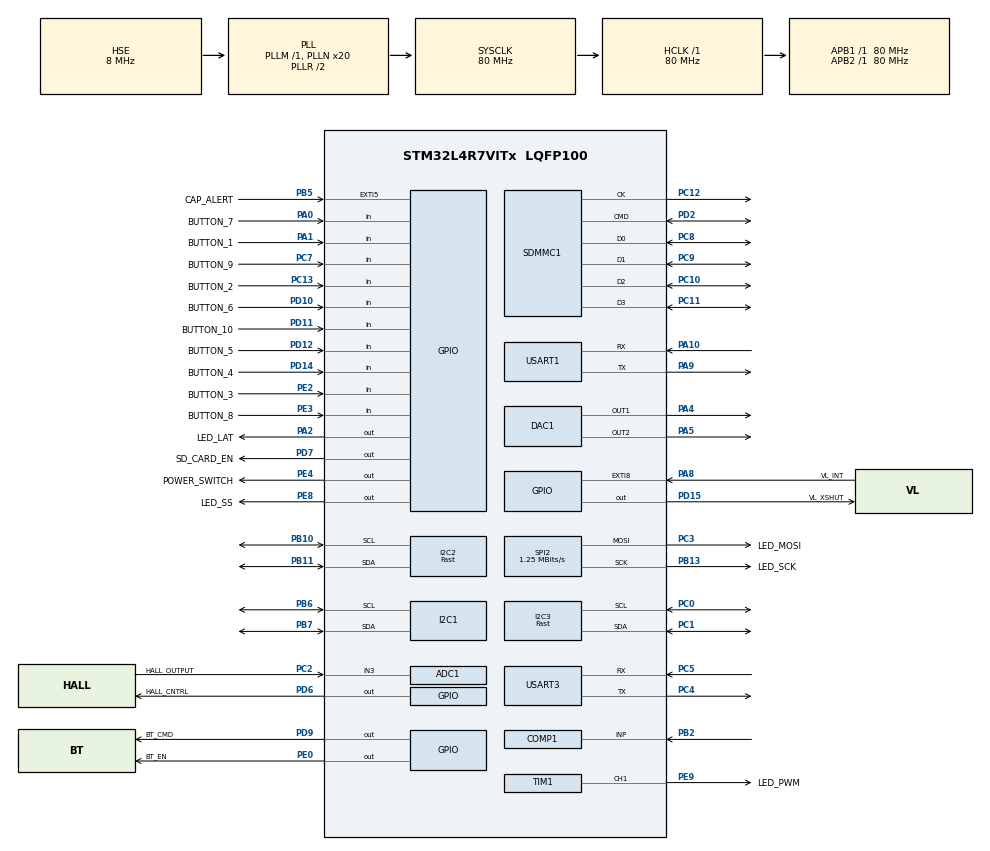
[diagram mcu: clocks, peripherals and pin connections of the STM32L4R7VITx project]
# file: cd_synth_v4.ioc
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ADC1.Channel-8\#ChannelRegularConversion=ADC_CHANNEL_3
ADC1.NbrOfConversionFlag=1
ADC1.OffsetNumber-8\#ChannelRegularConversion=ADC_OFFSET_NONE
ADC1.Rank-8\#ChannelRegularConversion=1
ADC1.SamplingTime-8\#ChannelRegularConversion=ADC_SAMPLETIME_2CYCLES_5
ADC1.master=1
COMP1.Hysteresis=COMP_HYSTERESIS_HIGH
COMP1.Mode=COMP_POWERMODE_ULTRALOWPOWER
COMP1.OutputPol=COMP_OUTPUTPOL_NONINVERTED
COMP1.TriggerMode=COMP_TRIGGERMODE_IT_FALLING
DAC1.DAC_Channel-DAC_OUT2=DAC_CHANNEL_2
DAC1.DAC_HighFrequency-DAC_OUT1=DAC_HIGH_FREQUENCY_INTERFACE_MODE_AUTOMATIC
DAC1.DAC_HighFrequency-DAC_OUT2=DAC_HIGH_FREQUENCY_INTERFACE_MODE_AUTOMATIC
DAC1.DAC_OutputBuffer-DAC_OUT1=DAC_OUTPUTBUFFER_ENABLE
DAC1.DAC_OutputBuffer-DAC_OUT2=DAC_OUTPUTBUFFER_ENABLE
DAC1.DAC_Trigger-DAC_OUT1=DAC_TRIGGER_T6_TRGO
DAC1.DAC_Trigger-DAC_OUT2=DAC_TRIGGER_T6_TRGO
DAC1.WaveGeneration-DAC_OUT1=DISABLE
Dma.DAC1_CH1.0.Direction=DMA_MEMORY_TO_PERIPH
Dma.DAC1_CH1.0.EventEnable=DISABLE
Dma.DAC1_CH1.0.Instance=DMA1_Channel1
Dma.DAC1_CH1.0.MemDataAlignment=DMA_MDATAALIGN_HALFWORD
Dma.DAC1_CH1.0.MemInc=DMA_MINC_ENABLE
Dma.DAC1_CH1.0.Mode=DMA_NORMAL
Dma.DAC1_CH1.0.PeriphDataAlignment=DMA_PDATAALIGN_HALFWORD
Dma.DAC1_CH1.0.PeriphInc=DMA_PINC_DISABLE
Dma.DAC1_CH1.0.Polarity=HAL_DMAMUX_REQUEST_GEN_RISING
Dma.DAC1_CH1.0.Priority=DMA_PRIORITY_HIGH
Dma.DAC1_CH1.0.RequestNumber=1
Dma.DAC1_CH1.0.SignalID=HAL_DMAMUX1_REQUEST_GEN_EXTI0
Dma.DAC1_CH1.0.SyncEnable=DISABLE
Dma.DAC1_CH1.0.SyncPolarity=HAL_DMAMUX_SYNC_NO_EVENT
Dma.DAC1_CH1.0.SyncRequestNumber=1
Dma.DAC1_CH1.0.SyncSignalID=HAL_DMAMUX1_SYNC_EXTI0
Dma.Request0=DAC1_CH1
FREERTOS.Tasks01=defaultTask,0,128,StartDefaultTask,Default,NULL,Dynamic,NULL,NULL
FREERTOS.configLIBRARY_MAX_SYSCALL_INTERRUPT_PRIORITY=5
FREERTOS.configMAX_TASK_NAME_LEN=25
FREERTOS.configTOTAL_HEAP_SIZE=20000
FREERTOS.configUSE_COUNTING_SEMAPHORES=1
FREERTOS.configUSE_TIMERS=1
I2C2.I2C_Speed_Mode=I2C_Fast
I2C2.Timing=0x00702991
I2C3.I2C_Speed_Mode=I2C_Fast
I2C3.Timing=0x00702991
Mcu.Family=STM32L4
Mcu.Name=STM32L4R7VITx
Mcu.Package=LQFP100
NVIC.COMP_IRQn=true\:5\:0\:true\:false\:true\:true\:false
NVIC.DMA1_Channel1_IRQn=true\:7\:0\:true\:false\:true\:true\:false
NVIC.EXTI9_5_IRQn=true\:5\:0\:false\:false\:true\:true\:true
NVIC.I2C1_EV_IRQn=true\:5\:0\:false\:false\:true\:true\:true
NVIC.I2C2_EV_IRQn=true\:5\:0\:false\:false\:true\:true\:true
NVIC.I2C3_EV_IRQn=true\:5\:0\:false\:false\:true\:true\:true
NVIC.PriorityGroup=NVIC_PRIORITYGROUP_4
NVIC.SPI2_IRQn=true\:5\:0\:false\:false\:true\:true\:true
NVIC.TIM2_IRQn=true\:0\:0\:false\:false\:true\:false\:false
NVIC.TIM3_IRQn=true\:5\:0\:false\:false\:true\:true\:true
NVIC.TIM4_IRQn=true\:5\:0\:false\:false\:true\:true\:true
NVIC.TIM6_DAC_IRQn=true\:5\:0\:true\:false\:true\:true\:true
NVIC.TimeBase=TIM2_IRQn
NVIC.TimeBaseIP=TIM2
NVIC.USART1_IRQn=true\:5\:0\:false\:false\:true\:true\:true
NVIC.USART3_IRQn=true\:5\:0\:false\:false\:true\:true\:true
PA0.GPIO_Label=BUTTON_7
PA0.Signal=GPIO_Input
PA1.GPIO_Label=BUTTON_1
PA1.Signal=GPIO_Input
PA10.Mode=Asynchronous
PA10.Signal=USART1_RX
PA13\ (JTMS/SWDIO).Mode=Serial_Wire
PA13\ (JTMS/SWDIO).Signal=SYS_JTMS-SWDIO
PA14\ (JTCK/SWCLK).Mode=Serial_Wire
PA14\ (JTCK/SWCLK).Signal=SYS_JTCK-SWCLK
PA2.GPIO_Label=LED_LAT
PA2.GPIO_Speed=GPIO_SPEED_FREQ_HIGH
PA2.Signal=GPIO_Output
PA4.Signal=COMP_DAC11_group
PA5.Signal=COMP_DAC12_group
PA8.GPIO_Label=VL_INT
PA8.GPIO_ModeDefaultEXTI=GPIO_MODE_IT_FALLING
PA8.Signal=GPXTI8
PA9.Mode=Asynchronous
PA9.Signal=USART1_TX
PB10.Mode=I2C
PB10.Signal=I2C2_SCL
PB11.Mode=I2C
PB11.Signal=I2C2_SDA
PB13.GPIO_Label=LED_SCK
PB13.Mode=TX_Only_Simplex_Unidirect_Master
PB13.Signal=SPI2_SCK
PB2.Mode=INP
PB2.Signal=COMP1_INP
PB5.GPIO_Label=CAP_ALERT
PB5.GPIO_PuPd=GPIO_PULLDOWN
PB5.Signal=GPXTI5
PB6.Mode=I2C
PB6.Signal=I2C1_SCL
PB7.Mode=I2C
PB7.Signal=I2C1_SDA
PC0.Mode=I2C
PC0.Signal=I2C3_SCL
PC1.Mode=I2C
PC1.Signal=I2C3_SDA
PC10.Mode=SD_4_bits_Wide_bus
PC10.Signal=SDMMC1_D2
PC11.Mode=SD_4_bits_Wide_bus
PC11.Signal=SDMMC1_D3
PC12.Mode=SD_4_bits_Wide_bus
PC12.Signal=SDMMC1_CK
PC13.GPIO_Label=BUTTON_2
PC13.Signal=GPIO_Input
PC14-OSC32_IN\ (PC14).Mode=LSE-External-Oscillator
PC14-OSC32_IN\ (PC14).Signal=RCC_OSC32_IN
PC15-OSC32_OUT\ (PC15).Mode=LSE-External-Oscillator
PC15-OSC32_OUT\ (PC15).Signal=RCC_OSC32_OUT
PC2.GPIO_Label=HALL_OUTPUT
PC2.Signal=SharedAnalog_PC2
PC3.GPIO_Label=LED_MOSI
PC3.Mode=TX_Only_Simplex_Unidirect_Master
PC3.Signal=SPI2_MOSI
PC4.Mode=Asynchronous
PC4.Signal=USART3_TX
PC5.Mode=Asynchronous
PC5.Signal=USART3_RX
PC7.GPIO_Label=BUTTON_9
PC7.Signal=GPIO_Input
PC8.Mode=SD_4_bits_Wide_bus
PC8.Signal=SDMMC1_D0
PC9.Mode=SD_4_bits_Wide_bus
PC9.Signal=SDMMC1_D1
PD10.GPIO_Label=BUTTON_6
PD10.Signal=GPIO_Input
PD11.GPIO_Label=BUTTON_10
PD11.Signal=GPIO_Input
PD12.GPIO_Label=BUTTON_5
PD12.Signal=GPIO_Input
PD14.GPIO_Label=BUTTON_4
PD14.Signal=GPIO_Input
PD15.GPIO_Label=VL_XSHUT
PD15.Signal=GPIO_Output
PD2.Mode=SD_4_bits_Wide_bus
PD2.Signal=SDMMC1_CMD
PD6.GPIO_Label=HALL_CNTRL
PD6.Signal=GPIO_Output
PD7.GPIO_Label=SD_CARD_EN
PD7.Signal=GPIO_Output
PD9.GPIO_Label=BT_CMD
PD9.PinState=GPIO_PIN_SET
PD9.Signal=GPIO_Output
PE0.GPIO_Label=BT_EN
PE0.PinState=GPIO_PIN_RESET
PE0.Signal=GPIO_Output
PE2.GPIO_Label=BUTTON_3
PE2.Signal=GPIO_Input
PE3.GPIO_Label=BUTTON_8
PE3.Signal=GPIO_Input
PE4.GPIO_Label=POWER_SWITCH
PE4.Signal=GPIO_Output
PE8.GPIO_Label=LED_SS
PE8.Signal=GPIO_Output
PE9.GPIO_Label=LED_PWM
PE9.Signal=S_TIM1_CH1
PH0-OSC_IN\ (PH0).Mode=HSE-External-Oscillator
PH0-OSC_IN\ (PH0).Signal=RCC_OSC_IN
PH1-OSC_OUT\ (PH1).Mode=HSE-External-Oscillator
PH1-OSC_OUT\ (PH1).Signal=RCC_OSC_OUT
ProjectManager.HeapSize=0x200
ProjectManager.StackSize=0x400
ProjectManager.TargetToolchain=TrueSTUDIO
RCC.ADCFreq_Value=32000000
RCC.AHBFreq_Value=80000000
RCC.APB1Freq_Value=80000000
RCC.APB1TimFreq_Value=80000000
RCC.APB2Freq_Value=80000000
RCC.APB2TimFreq_Value=80000000
RCC.CortexFreq_Value=80000000
RCC.HCLKFreq_Value=80000000
RCC.HSE_VALUE=8000000
RCC.HSI48_VALUE=48000000
RCC.HSI_VALUE=16000000
RCC.MSI_VALUE=4000000
RCC.PLLN=20
RCC.PLLP=RCC_PLLP_DIV4
RCC.PLLSourceVirtual=RCC_PLLSOURCE_HSE
RCC.RTCClockSelection=RCC_RTCCLKSOURCE_LSE
RCC.SYSCLKFreq_VALUE=80000000
RCC.SYSCLKSource=RCC_SYSCLKSOURCE_PLLCLK
RCC.USBFreq_Value=32000000
RCC.VCOOutputFreq_Value=160000000
SH.COMP_DAC11_group.0=DAC1_OUT1,DAC_OUT1
SH.COMP_DAC12_group.0=DAC1_OUT2,DAC_OUT2
SH.S_TIM1_CH1.0=TIM1_CH1,PWM Generation1 CH1
SH.SharedAnalog_PC2.0=GPIO_Analog
SH.SharedAnalog_PC2.1=ADC1_IN3,IN3-Single-Ended
SPI2.BaudRatePrescaler=SPI_BAUDRATEPRESCALER_64
SPI2.CLKPhase=SPI_PHASE_2EDGE
SPI2.CLKPolarity=SPI_POLARITY_HIGH
SPI2.CalculateBaudRate=1.25 MBits/s
SPI2.DataSize=SPI_DATASIZE_8BIT
SPI2.Direction=SPI_DIRECTION_2LINES
SPI2.Mode=SPI_MODE_MASTER
SPI2.VirtualType=VM_MASTER
TIM1.Channel-PWM\ Generation1\ CH1=TIM_CHANNEL_1
TIM1.OCFastMode_PWM-PWM\ Generation1\ CH1=TIM_OCFAST_DISABLE
TIM1.OCIdleState_1=TIM_OCIDLESTATE_RESET
TIM1.OCMode_PWM-PWM\ Generation1\ CH1=TIM_OCMODE_PWM1
TIM1.OCPolarity_1=TIM_OCPOLARITY_LOW
TIM1.Period=99
TIM1.Prescaler=7
TIM1.Pulse-PWM\ Generation1\ CH1=40
TIM1.TIM_MasterOutputTrigger2=TIM_TRGO2_RESET
TIM16.Period=49
TIM16.Prescaler=7
TIM17.Period=49
TIM17.Prescaler=79
TIM3.Period=9
TIM3.Prescaler=799
TIM4.Period=6000
TIM4.Prescaler=7999
TIM6.AutoReloadPreload=TIM_AUTORELOAD_PRELOAD_DISABLE
TIM6.Period=199
TIM6.Prescaler=9
TIM6.TIM_MasterOutputTrigger=TIM_TRGO_UPDATE
USART1.VirtualMode-Asynchronous=VM_ASYNC
USART3.VirtualMode-Asynchronous=VM_ASYNC
VP_COMP1_VS_VREFINT34.Mode=VREFINT_34
VP_FREERTOS_VS_ENABLE.Mode=Enabled
VP_RTC_VS_RTC_Activate.Mode=RTC_Enabled
VP_SYS_VS_tim2.Mode=TIM2
VP_TIM16_VS_ClockSourceINT.Mode=Enable_Timer
VP_TIM17_VS_ClockSourceINT.Mode=Enable_Timer
VP_TIM1_VS_ClockSourceINT.Mode=Internal
VP_TIM3_VS_ClockSourceINT.Mode=Internal
VP_TIM4_VS_ClockSourceINT.Mode=Internal
VP_TIM6_VS_ClockSourceINT.Mode=Enable_Timer
VP_TIM7_VS_ClockSourceINT.Mode=Enable_Timer
board=custom

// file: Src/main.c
/* USER CODE BEGIN Header */
/**
  ******************************************************************************
  * @file           : main.c
  * @brief          : Main program body
  ******************************************************************************
  * This notice applies to any and all portions of this file
  * that are not between comment pairs USER CODE BEGIN and
  * USER CODE END. Other portions of this file, whether
  * inserted by the user or by software development tools
  * are owned by their respective copyright owners.
  *
  * Copyright (c) 2018 STMicroelectronics International N.V.
  * All rights reserved.
  *
  * Redistribution and use in source and binary forms, with or without
  * modification, are permitted, provided that the following conditions are met:
  *
  * 1. Redistribution of source code must retain the above copyright notice,
  *    this list of conditions and the following disclaimer.
  * 2. Redistributions in binary form must reproduce the above copyright notice,
  *    this list of conditions and the following disclaimer in the documentation
  *    and/or other materials provided with the distribution.
  * 3. Neither the name of STMicroelectronics nor the names of other
  *    contributors to this software may be used to endorse or promote products
  *    derived from this software without specific written permission.
  * 4. This software, including modifications and/or derivative works of this
  *    software, must execute solely and exclusively on microcontroller or
  *    microprocessor devices manufactured by or for STMicroelectronics.
  * 5. Redistribution and use of this software other than as permitted under
  *    this license is void and will automatically terminate your rights under
  *    this license.
  *
  * THIS SOFTWARE IS PROVIDED BY STMICROELECTRONICS AND CONTRIBUTORS "AS IS"
  * AND ANY EXPRESS, IMPLIED OR STATUTORY WARRANTIES, INCLUDING, BUT NOT
  * LIMITED TO, THE IMPLIED WARRANTIES OF MERCHANTABILITY, FITNESS FOR A
  * PARTICULAR PURPOSE AND NON-INFRINGEMENT OF THIRD PARTY INTELLECTUAL PROPERTY
  * RIGHTS ARE DISCLAIMED TO THE FULLEST EXTENT PERMITTED BY LAW. IN NO EVENT
  * SHALL STMICROELECTRONICS OR CONTRIBUTORS BE LIABLE FOR ANY DIRECT, INDIRECT,
  * INCIDENTAL, SPECIAL, EXEMPLARY, OR CONSEQUENTIAL DAMAGES (INCLUDING, BUT NOT
  * LIMITED TO, PROCUREMENT OF SUBSTITUTE GOODS OR SERVICES; LOSS OF USE, DATA,
  * OR PROFITS; OR BUSINESS INTERRUPTION) HOWEVER CAUSED AND ON ANY THEORY OF
  * LIABILITY, WHETHER IN CONTRACT, STRICT LIABILITY, OR TORT (INCLUDING
  * NEGLIGENCE OR OTHERWISE) ARISING IN ANY WAY OUT OF THE USE OF THIS SOFTWARE,
  * EVEN IF ADVISED OF THE POSSIBILITY OF SUCH DAMAGE.
  *
  ******************************************************************************
  */
/* USER CODE END Header */

#include "main.h"
#include "cmsis_os.h"
#include "adc.h"
#include "comp.h"
#include "dac.h"
#include "dma.h"
#include "i2c.h"
#include "rtc.h"
#include "sdmmc.h"
#include "spi.h"
#include "tim.h"
#include "usart.h"
#include "gpio.h"

/* USER CODE BEGIN Includes */
#include "lidar.h"
#include "res_touch.h"
#include "cap_touch.h"
#include "led_cntrl.h"
#include "wave_synth.h"
#include "MMA8451.h"
#include "stdlib.h"
//#include "tables.h"
#include "filter.h"
#include "hall_effect.h"
/* USER CODE END Includes */

/* USER CODE BEGIN PD */
#define HALL_UPPER_THRESH	550
#define HALL_LOWER_THRESH	430
#define ADC_SAMPLE_TIME		0.000208
#define RPS_LED_THRESH		0.080

//define below  to enable BT_UART over FTDI connection
//#define BT_UART				1
/* USER CODE END PD */

/* USER CODE BEGIN PV */
volatile uint8_t byte1;
volatile uint8_t byte3;
//char str[30] = "C,C95A02C57C49\n";
volatile uint16_t POV_map3 = 0;

/* USER CODE END PV */

void SystemClock_Config(void);
void MX_FREERTOS_Init(void);

int main(void)
   {

  /* MCU Configuration--------------------------------------------------------*/

  /* Reset of all peripherals, Initializes the Flash interface and the Systick. */
  HAL_Init();

  /* Configure the system clock */
  SystemClock_Config();

  /* Initialize all configured peripherals */
  MX_GPIO_Init();
  MX_DMA_Init();
  MX_TIM6_Init();
  MX_DAC1_Init();
  MX_SPI2_Init();
  MX_TIM1_Init();
  MX_TIM16_Init();
  MX_TIM17_Init();
  MX_I2C1_Init();
  MX_I2C3_Init();
  MX_USART3_UART_Init();
  MX_SDMMC1_SD_Init();
  MX_RTC_Init();
  MX_USART1_UART_Init();
  MX_ADC1_Init();
  MX_TIM7_Init();
  MX_I2C2_Init();
  MX_TIM3_Init();
  MX_TIM4_Init();
  MX_COMP1_Init();
  /* USER CODE BEGIN 2 */

  //turn on 3.3V power for sensors
  HAL_GPIO_WritePin(POWER_SWITCH_GPIO_Port, POWER_SWITCH_Pin, GPIO_PIN_SET);

  //enable BT module
  //HAL_GPIO_WritePin(BT_CMD_GPIO_Port, BT_CMD_Pin, GPIO_PIN_SET);
  HAL_GPIO_WritePin(BT_EN_GPIO_Port, BT_EN_Pin, GPIO_PIN_SET);

  //  HAL_GPIO_TogglePin(LED_LAT_GPIO_Port, LED_LAT_Pin);
  activateLidar();

  // short delay to give Lidar and ACC some time to initialize
  HAL_Delay(100);

  // enable all shift registers
  //HAL_GPIO_WritePin(LED_PWM_GPIO_Port, LED_PWM_Pin, GPIO_PIN_RESET);
  HAL_TIM_Base_Start(&htim1);
  HAL_TIM_PWM_Start(&htim1, TIM_CHANNEL_1);

  Setup_Cap_Touch();

  // below is needed to ensure proper rounds-per-second is calculated for the POV display
  /* DWT struct is defined inside the core_cm4.h file */
  CoreDebug->DEMCR |= CoreDebug_DEMCR_TRCENA_Msk;
  //DWT->LAR = 0xC5ACCE55;
  DWT->CYCCNT = 0; // reset the counter
  DWT->CTRL |= DWT_CTRL_CYCCNTENA_Msk; // enable the counter

  HAL_TIM_Base_Start(&htim6);

  // DAC DMA
  HAL_DAC_Start(&hdac1, DAC_CHANNEL_1);
  //    HAL_DAC_Start(&hdac1, DAC_CHANNEL_2);
  //    HAL_DAC_SetValue(&hdac1, DAC_CHANNEL_2, DAC_ALIGN_12B_R, 0x100);

  // prep an initial buffer for DAC
  // prepBuffer();

#ifdef BT_UART
  HAL_GPIO_WritePin(BT_CMD_GPIO_Port, BT_CMD_Pin, GPIO_PIN_SET);
  HAL_UART_Receive_IT(&huart3, &byte3, 1);
  HAL_UART_Receive_IT(&huart1, &byte1, 1);
#endif

  //    // set hall effect to HIGH (its 6.25kHz if set high and 24Hz when low)
  HAL_GPIO_WritePin(HALL_CNTRL_GPIO_Port, HALL_CNTRL_Pin, GPIO_PIN_SET);
  //
  //    // enable ADC
  //    ADC_Enable(&hadc1);
  //    HAL_ADC_Start_IT(&hadc1);

  //initFilter();

  // start comparator for HALL effect sensor
  HAL_COMP_Start(&hcomp1);

  /* USER CODE END 2 */

  /* Call init function for freertos objects (in freertos.c) */
  MX_FREERTOS_Init();

  /* Start scheduler */
  osKernelStart();

  /* We should never get here as control is now taken by the scheduler */

  /* Infinite loop */
  while (1)
  {

  }
}

void SystemClock_Config(void)
{
  RCC_OscInitTypeDef RCC_OscInitStruct = {0};
  RCC_ClkInitTypeDef RCC_ClkInitStruct = {0};
  RCC_PeriphCLKInitTypeDef PeriphClkInit = {0};

  /**Configure the main internal regulator output voltage
  */
  if (HAL_PWREx_ControlVoltageScaling(PWR_REGULATOR_VOLTAGE_SCALE1) != HAL_OK)
  {
    Error_Handler();
  }
  /**Configure LSE Drive Capability
  */
  HAL_PWR_EnableBkUpAccess();
  __HAL_RCC_LSEDRIVE_CONFIG(RCC_LSEDRIVE_LOW);
  /**Initializes the CPU, AHB and APB busses clocks
  */
  RCC_OscInitStruct.OscillatorType = RCC_OSCILLATORTYPE_HSE|RCC_OSCILLATORTYPE_LSE;
  RCC_OscInitStruct.HSEState = RCC_HSE_ON;
  RCC_OscInitStruct.LSEState = RCC_LSE_ON;
  RCC_OscInitStruct.PLL.PLLState = RCC_PLL_ON;
  RCC_OscInitStruct.PLL.PLLSource = RCC_PLLSOURCE_HSE;
  RCC_OscInitStruct.PLL.PLLM = 1;
  RCC_OscInitStruct.PLL.PLLN = 20;
  RCC_OscInitStruct.PLL.PLLP = RCC_PLLP_DIV4;
  RCC_OscInitStruct.PLL.PLLQ = RCC_PLLQ_DIV2;
  RCC_OscInitStruct.PLL.PLLR = RCC_PLLR_DIV2;
  if (HAL_RCC_OscConfig(&RCC_OscInitStruct) != HAL_OK)
  {
    Error_Handler();
  }
  /**Initializes the CPU, AHB and APB busses clocks
  */
  RCC_ClkInitStruct.ClockType = RCC_CLOCKTYPE_HCLK|RCC_CLOCKTYPE_SYSCLK
                              |RCC_CLOCKTYPE_PCLK1|RCC_CLOCKTYPE_PCLK2;
  RCC_ClkInitStruct.SYSCLKSource = RCC_SYSCLKSOURCE_PLLCLK;
  RCC_ClkInitStruct.AHBCLKDivider = RCC_SYSCLK_DIV1;
  RCC_ClkInitStruct.APB1CLKDivider = RCC_HCLK_DIV1;
  RCC_ClkInitStruct.APB2CLKDivider = RCC_HCLK_DIV1;

  if (HAL_RCC_ClockConfig(&RCC_ClkInitStruct, FLASH_LATENCY_3) != HAL_OK)
  {
    Error_Handler();
  }
  PeriphClkInit.PeriphClockSelection = RCC_PERIPHCLK_RTC|RCC_PERIPHCLK_USART1
                              |RCC_PERIPHCLK_USART3|RCC_PERIPHCLK_I2C1
                              |RCC_PERIPHCLK_I2C2|RCC_PERIPHCLK_I2C3
                              |RCC_PERIPHCLK_SDMMC1|RCC_PERIPHCLK_ADC;
  PeriphClkInit.Usart1ClockSelection = RCC_USART1CLKSOURCE_PCLK2;
  PeriphClkInit.Usart3ClockSelection = RCC_USART3CLKSOURCE_PCLK1;
  PeriphClkInit.I2c1ClockSelection = RCC_I2C1CLKSOURCE_PCLK1;
  PeriphClkInit.I2c2ClockSelection = RCC_I2C2CLKSOURCE_PCLK1;
  PeriphClkInit.I2c3ClockSelection = RCC_I2C3CLKSOURCE_PCLK1;
  PeriphClkInit.AdcClockSelection = RCC_ADCCLKSOURCE_PLLSAI1;
  PeriphClkInit.RTCClockSelection = RCC_RTCCLKSOURCE_LSE;
  PeriphClkInit.Sdmmc1ClockSelection = RCC_SDMMC1CLKSOURCE_PLLP;
  PeriphClkInit.PLLSAI1.PLLSAI1Source = RCC_PLLSOURCE_HSE;
  PeriphClkInit.PLLSAI1.PLLSAI1M = 1;
  PeriphClkInit.PLLSAI1.PLLSAI1N = 8;
  PeriphClkInit.PLLSAI1.PLLSAI1P = RCC_PLLP_DIV2;
  PeriphClkInit.PLLSAI1.PLLSAI1Q = RCC_PLLQ_DIV2;
  PeriphClkInit.PLLSAI1.PLLSAI1R = RCC_PLLR_DIV2;
  PeriphClkInit.PLLSAI1.PLLSAI1ClockOut = RCC_PLLSAI1_ADC1CLK;
  if (HAL_RCCEx_PeriphCLKConfig(&PeriphClkInit) != HAL_OK)
  {
    Error_Handler();
  }
}

/* USER CODE BEGIN 4 */
void HAL_COMP_TriggerCallback(COMP_HandleTypeDef *hcomp){
	HALL_Handler();
}

void ledOut2(int8_t shift){
	POV_map3 = 0x0001 << (( shift) % 15);
	POV_LEDs(POV_map3);
}

//volatile uint8_t LED_state = 0;
void HAL_GPIO_EXTI_Callback(uint16_t GPIO_Pin)
{
  /* Prevent unused argument(s) compilation warning */
  UNUSED(GPIO_Pin);
  if(GPIO_Pin == CAP_ALERT_Pin){
	  //
	  if (isCapModeActive()) osSemaphoreRelease (capSampleSemaphoreHandle);
	  //if (isCapModeActive()) Sample_Cap_Touch();
	  //Sample_Cap_Touch();
  }
  else if(GPIO_Pin == VL_INT_Pin){
	  if(isLidarModeActive()) osSemaphoreRelease (lidarSampleReadySemaphoreHandle);
  }
}

void HAL_SPI_TxCpltCallback(SPI_HandleTypeDef *hspi){
	HAL_GPIO_WritePin(LED_SS_GPIO_Port, LED_SS_Pin, GPIO_PIN_SET);
#ifdef DEBUG_PRINT
      HAL_UART_Transmit(&huart3, "TX transmit\n\r", sizeof("TX transmit\n\r"), 100);
    #endif
	if (LED_mutex_id != NULL)  {

		osMutexRelease(LED_mutex_id);
	}
}

void HAL_UART_RxCpltCallback(UART_HandleTypeDef *huart)
{
  if (huart->Instance == USART3)
  {
    /* Transmit one byte with 100 ms timeout */
    HAL_UART_Transmit(&huart1, &byte3, 1, 100);

    /* Receive one byte in interrupt mode */
    HAL_UART_Receive_IT(&huart3, &byte3, 1);

    //HAL_UART_Transmit(&huart3, "transmitting to BT module\n", sizeof("transmitting to BT module\n"), 100);

//    if (byte3 == '?'){
////        	HAL_UART_Transmit(&huart3, "  --MENU--  \n", sizeof("  --MENU--  \n"), 100);
////        	HAL_UART_Transmit(&huart3, "m: enter BT MAC\n", sizeof("m: enter BT MAC\n"), 100);
//        }
//
////    if (byte == 'm'){
////    	HAL_UART_Transmit(&huart3, "RECEIVED M\n", sizeof("RECEIVED M\n"), 100);
////    }
  }

  if (huart->Instance == USART1)
   {
     /* Transmit one byte with 100 ms timeout */
     HAL_UART_Transmit(&huart3, &byte1, 1, 100);

     /* Receive one byte in interrupt mode */
     HAL_UART_Receive_IT(&huart1, &byte1, 1);

//     if (byte1 == '?'){
// //        	HAL_UART_Transmit(&huart3, "  --MENU--  \n", sizeof("  --MENU--  \n"), 100);
// //        	HAL_UART_Transmit(&huart3, "m: enter BT MAC\n", sizeof("m: enter BT MAC\n"), 100);
//         }
//
////     if (byte == 'm'){
////     	HAL_UART_Transmit(&huart3, "RECEIVED M\n", sizeof("RECEIVED M\n"), 100);
////     }
   }
}

/* USER CODE END 4 */

void HAL_TIM_PeriodElapsedCallback(TIM_HandleTypeDef *htim)
{
  if (htim->Instance == TIM2) {
    HAL_IncTick();
  }
  /* USER CODE BEGIN Callback 1 */
  else if (htim->Instance == TIM3) {
    POV_Update();
  }
  else if (htim->Instance == TIM4) {
    enable_buttons();
  }
//  else if (htim->Instance == TIM6) {
//	  HAL_GPIO_TogglePin(LED_LAT_GPIO_Port, LED_LAT_Pin);
//    }
  /* USER CODE END Callback 1 */
}

void Error_Handler(void)
{
}

/************************ (C) COPYRIGHT STMicroelectronics *****END OF FILE****/

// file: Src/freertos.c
/* USER CODE BEGIN Header */
/**
  ******************************************************************************
  * File Name          : freertos.c
  * Description        : Code for freertos applications
  ******************************************************************************
  * This notice applies to any and all portions of this file
  * that are not between comment pairs USER CODE BEGIN and
  * USER CODE END. Other portions of this file, whether
  * inserted by the user or by software development tools
  * are owned by their respective copyright owners.
  *
  * Copyright (c) 2018 STMicroelectronics International N.V.
  * All rights reserved.
  *
  * Redistribution and use in source and binary forms, with or without
  * modification, are permitted, provided that the following conditions are met:
  *
  * 1. Redistribution of source code must retain the above copyright notice,
  *    this list of conditions and the following disclaimer.
  * 2. Redistributions in binary form must reproduce the above copyright notice,
  *    this list of conditions and the following disclaimer in the documentation
  *    and/or other materials provided with the distribution.
  * 3. Neither the name of STMicroelectronics nor the names of other
  *    contributors to this software may be used to endorse or promote products
  *    derived from this software without specific written permission.
  * 4. This software, including modifications and/or derivative works of this
  *    software, must execute solely and exclusively on microcontroller or
  *    microprocessor devices manufactured by or for STMicroelectronics.
  * 5. Redistribution and use of this software other than as permitted under
  *    this license is void and will automatically terminate your rights under
  *    this license.
  *
  * THIS SOFTWARE IS PROVIDED BY STMICROELECTRONICS AND CONTRIBUTORS "AS IS"
  * AND ANY EXPRESS, IMPLIED OR STATUTORY WARRANTIES, INCLUDING, BUT NOT
  * LIMITED TO, THE IMPLIED WARRANTIES OF MERCHANTABILITY, FITNESS FOR A
  * PARTICULAR PURPOSE AND NON-INFRINGEMENT OF THIRD PARTY INTELLECTUAL PROPERTY
  * RIGHTS ARE DISCLAIMED TO THE FULLEST EXTENT PERMITTED BY LAW. IN NO EVENT
  * SHALL STMICROELECTRONICS OR CONTRIBUTORS BE LIABLE FOR ANY DIRECT, INDIRECT,
  * INCIDENTAL, SPECIAL, EXEMPLARY, OR CONSEQUENTIAL DAMAGES (INCLUDING, BUT NOT
  * LIMITED TO, PROCUREMENT OF SUBSTITUTE GOODS OR SERVICES; LOSS OF USE, DATA,
  * OR PROFITS; OR BUSINESS INTERRUPTION) HOWEVER CAUSED AND ON ANY THEORY OF
  * LIABILITY, WHETHER IN CONTRACT, STRICT LIABILITY, OR TORT (INCLUDING
  * NEGLIGENCE OR OTHERWISE) ARISING IN ANY WAY OUT OF THE USE OF THIS SOFTWARE,
  * EVEN IF ADVISED OF THE POSSIBILITY OF SUCH DAMAGE.
  *
  ******************************************************************************
  */
/* USER CODE END Header */

#include "FreeRTOS.h"
#include "task.h"
#include "main.h"
#include "cmsis_os.h"

/* USER CODE BEGIN Includes */
#include "cap_touch.h"
#include "lidar.h"
#include "wave_synth.h"
#include "MMA8451.h"
#include "led_cntrl.h"
#include "res_touch.h"

/* USER CODE END Includes */

/* USER CODE BEGIN Variables */
//osTimerId capSampleTimerHandle;
osThreadId capSampleHandle;
osThreadId lidarMeasurementHandle;
osThreadId bufferFillHandle;
osThreadId accSampleHandle;
osThreadId ledTransmitHandle;

/* USER CODE END Variables */
osThreadId defaultTaskHandle;

void StartDefaultTask(void const * argument);

void MX_FREERTOS_Init(void); /* (MISRA C 2004 rule 8.1) */

void MX_FREERTOS_Init(void) {

  /* USER CODE BEGIN RTOS_TIMERS */
  /* start timers, add new ones, ... */
	/* Define a timer with “osTimerCallback” as callback process */
//	osTimerDef(capSampleTimer, Sample_Cap_Touch);
//    capSampleTimerHandle = osTimerCreate (osTimer(capSampleTimer), osTimerPeriodic, NULL);

  /* USER CODE END RTOS_TIMERS */

  /* Create the thread(s) */
  /* definition and creation of defaultTask */
  osThreadDef(defaultTask, StartDefaultTask, osPriorityNormal, 0, 128);
  defaultTaskHandle = osThreadCreate(osThread(defaultTask), NULL);

  /* USER CODE BEGIN RTOS_THREADS */
  /* add threads, ... */
  //osThreadDef(cap_sample_thread, Sample_Cap_Touch, osPriorityNormal, 0, 128);

  /* USER CODE END RTOS_THREADS */

}

void StartDefaultTask(void const * argument)
{

  /* USER CODE BEGIN StartDefaultTask */
  osMutexDef (LED_mutex);    // Declare mutex
  LED_mutex_id = osMutexCreate(osMutex(LED_mutex));

  osMutexDef (I2C3_mutex);    // Declare mutex
  I2C3_mutex_id = osMutexCreate(osMutex(I2C3_mutex));
  osMutexWait(I2C3_mutex_id, 5);

  osSemaphoreDef(capSampleSemaphore);
  capSampleSemaphoreHandle = osSemaphoreCreate (osSemaphore(capSampleSemaphore), 4);
  osSemaphoreWait( capSampleSemaphoreHandle, 1);
  osSemaphoreWait( capSampleSemaphoreHandle, 1);
  osSemaphoreWait( capSampleSemaphoreHandle, 1);
  osSemaphoreWait( capSampleSemaphoreHandle, 1);

  osSemaphoreDef(lidarSampleReadySemaphore);
  lidarSampleReadySemaphoreHandle = osSemaphoreCreate (osSemaphore(lidarSampleReadySemaphore), 3);
  osSemaphoreWait( lidarSampleReadySemaphoreHandle, 1);
  osSemaphoreWait( lidarSampleReadySemaphoreHandle, 1);
  osSemaphoreWait( lidarSampleReadySemaphoreHandle, 1);

  osSemaphoreDef(accSampleSemaphore);
  accSampleSemaphoreHandle = osSemaphoreCreate (osSemaphore(accSampleSemaphore), 2);
  osSemaphoreWait( accSampleSemaphoreHandle, 1);
  osSemaphoreWait( accSampleSemaphoreHandle, 1);

  osSemaphoreDef(transmitLED_bufferSemaphore);
  transmitLED_bufferSemaphoreHandle = osSemaphoreCreate (osSemaphore(transmitLED_bufferSemaphore), 5);
  osSemaphoreWait( transmitLED_bufferSemaphoreHandle, 1);
  osSemaphoreWait( transmitLED_bufferSemaphoreHandle, 1);
  osSemaphoreWait( transmitLED_bufferSemaphoreHandle, 1);
  osSemaphoreWait( transmitLED_bufferSemaphoreHandle, 1);
  osSemaphoreWait( transmitLED_bufferSemaphoreHandle, 1);

  osTimerDef(accSampleTimer, accGiveSemaphore);
  accSampleTimerHandle = osTimerCreate(osTimer(accSampleTimer), osTimerPeriodic, (void *)0);

  osTimerDef(povExitTimer, enable_buttons);
  povExitTimerHandle = osTimerCreate(osTimer(povExitTimer), osTimerOnce, (void *)0);

  osTimerDef(capSampleTimer, capGiveSemaphore);
  capSampleTimerHandle = osTimerCreate(osTimer(capSampleTimer), osTimerPeriodic, (void *)0);

  osTimerDef(resSampleTimer, ResistiveTouchSampler);
  resSampleTimerHandle = osTimerCreate(osTimer(resSampleTimer), osTimerPeriodic, (void *)0);
  osTimerStart(resSampleTimerHandle,100);

  osSemaphoreDef(bufferFillSemaphore);
  bufferFillSemaphoreHandle = osSemaphoreCreate (osSemaphore(bufferFillSemaphore), 4);
  osSemaphoreWait( bufferFillSemaphoreHandle, 1);
  osSemaphoreWait( bufferFillSemaphoreHandle, 1);
  osSemaphoreWait( bufferFillSemaphoreHandle, 1);

  osThreadDef(ledTransmitTask, bufferTransmitThread, osPriorityNormal, 0, 256);
  ledTransmitHandle = osThreadCreate(osThread(ledTransmitTask), NULL);

  osThreadDef(bufferFillTask, prepBuffer, osPriorityNormal, 0, 1024);
  bufferFillHandle = osThreadCreate(osThread(bufferFillTask), NULL);

  osThreadDef(lidarMeasurementTask, LidarMeasurement, osPriorityLow, 0, 256);
  lidarMeasurementHandle = osThreadCreate(osThread(lidarMeasurementTask), NULL);

  osThreadDef(capSampleTask, Sample_Cap_Touch, osPriorityLow, 0, 256);
  capSampleHandle = osThreadCreate(osThread(capSampleTask), NULL);

  osThreadDef(accSampleTask, accelerometerThread, osPriorityLow, 0, 256);
  accSampleHandle = osThreadCreate(osThread(accSampleTask), NULL);

  /* Infinite loop */
  for(;;)
  {
    osDelay(1);
  }
  /* USER CODE END StartDefaultTask */
}

/************************ (C) COPYRIGHT STMicroelectronics *****END OF FILE****/
